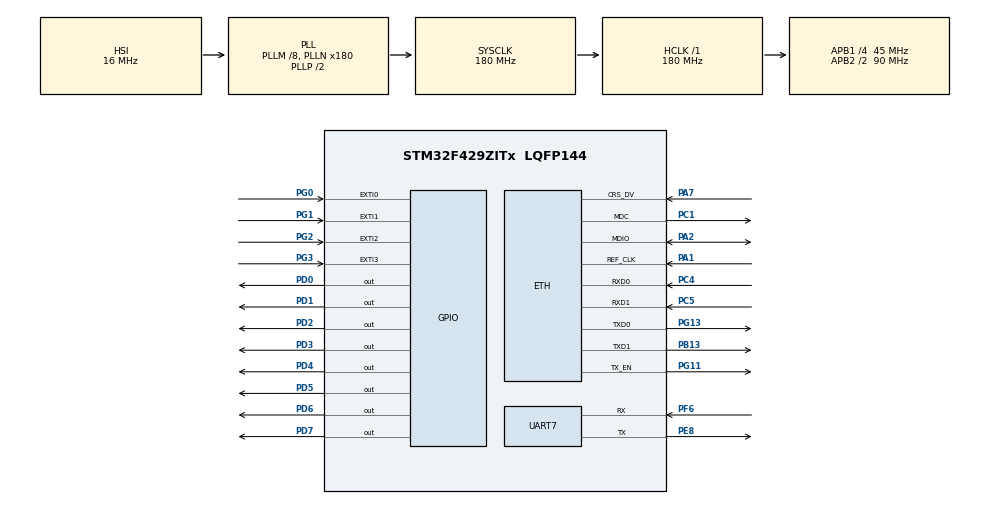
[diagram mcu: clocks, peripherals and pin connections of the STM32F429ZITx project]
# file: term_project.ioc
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ETH.MediaInterface=HAL_ETH_RMII_MODE
LWIP.BSP.number=1
LWIP.GATEWAY_ADDRESS=192.168.000.001
LWIP.IP_ADDRESS=192.168.000.110
LWIP.LWIP_DHCP=0
LWIP.NETMASK_ADDRESS=255.255.255.000
LWIP.Version=v2.1.2_Cube
LWIP0.BSP.STBoard=false
LWIP0.BSP.api=BSP_COMPONENT_DRIVER
LWIP0.BSP.component=LAN8742
LWIP0.BSP.instance=LAN8742
LWIP0.BSP.name=Driver_PHY
LWIP0.BSP.semaphore=S_LAN8742
LWIP0.BSP.solution=LAN8742
Mcu.Family=STM32F4
Mcu.Name=STM32F429ZITx
Mcu.Package=LQFP144
NVIC.EXTI0_IRQn=true\:0\:0\:false\:false\:true\:true\:true\:true
NVIC.EXTI1_IRQn=true\:0\:0\:false\:false\:true\:true\:true\:true
NVIC.EXTI2_IRQn=true\:0\:0\:false\:false\:true\:true\:true\:true
NVIC.EXTI3_IRQn=true\:0\:0\:false\:false\:true\:true\:true\:true
NVIC.PriorityGroup=NVIC_PRIORITYGROUP_4
NVIC.UART7_IRQn=true\:0\:0\:false\:false\:true\:true\:true\:true
PA1.Mode=RMII
PA1.Signal=ETH_REF_CLK
PA13.Mode=Serial_Wire
PA13.Signal=SYS_JTMS-SWDIO
PA14.Mode=Serial_Wire
PA14.Signal=SYS_JTCK-SWCLK
PA2.Mode=RMII
PA2.Signal=ETH_MDIO
PA7.Mode=RMII
PA7.Signal=ETH_CRS_DV
PB13.Mode=RMII
PB13.Signal=ETH_TXD1
PC1.Mode=RMII
PC1.Signal=ETH_MDC
PC4.Mode=RMII
PC4.Signal=ETH_RXD0
PC5.Mode=RMII
PC5.Signal=ETH_RXD1
PD0.GPIO_ModeDefaultOutputPP=GPIO_MODE_OUTPUT_PP
PD0.GPIO_PuPd=GPIO_PULLUP
PD0.GPIO_Speed=GPIO_SPEED_FREQ_HIGH
PD0.PinState=GPIO_PIN_RESET
PD0.Signal=GPIO_Output
PD1.GPIO_ModeDefaultOutputPP=GPIO_MODE_OUTPUT_PP
PD1.GPIO_PuPd=GPIO_PULLUP
PD1.GPIO_Speed=GPIO_SPEED_FREQ_HIGH
PD1.PinState=GPIO_PIN_RESET
PD1.Signal=GPIO_Output
PD2.GPIO_ModeDefaultOutputPP=GPIO_MODE_OUTPUT_PP
PD2.GPIO_PuPd=GPIO_PULLUP
PD2.GPIO_Speed=GPIO_SPEED_FREQ_HIGH
PD2.PinState=GPIO_PIN_RESET
PD2.Signal=GPIO_Output
PD3.GPIO_ModeDefaultOutputPP=GPIO_MODE_OUTPUT_PP
PD3.GPIO_PuPd=GPIO_PULLUP
PD3.GPIO_Speed=GPIO_SPEED_FREQ_HIGH
PD3.PinState=GPIO_PIN_RESET
PD3.Signal=GPIO_Output
PD4.GPIO_ModeDefaultOutputPP=GPIO_MODE_OUTPUT_PP
PD4.GPIO_PuPd=GPIO_PULLUP
PD4.GPIO_Speed=GPIO_SPEED_FREQ_HIGH
PD4.PinState=GPIO_PIN_RESET
PD4.Signal=GPIO_Output
PD5.GPIO_ModeDefaultOutputPP=GPIO_MODE_OUTPUT_PP
PD5.GPIO_PuPd=GPIO_PULLUP
PD5.GPIO_Speed=GPIO_SPEED_FREQ_HIGH
PD5.PinState=GPIO_PIN_RESET
PD5.Signal=GPIO_Output
PD6.GPIO_ModeDefaultOutputPP=GPIO_MODE_OUTPUT_PP
PD6.GPIO_PuPd=GPIO_PULLUP
PD6.GPIO_Speed=GPIO_SPEED_FREQ_HIGH
PD6.PinState=GPIO_PIN_RESET
PD6.Signal=GPIO_Output
PD7.GPIO_ModeDefaultOutputPP=GPIO_MODE_OUTPUT_PP
PD7.GPIO_PuPd=GPIO_PULLUP
PD7.GPIO_Speed=GPIO_SPEED_FREQ_HIGH
PD7.PinState=GPIO_PIN_RESET
PD7.Signal=GPIO_Output
PE8.Mode=Asynchronous
PE8.Signal=UART7_TX
PF6.Mode=Asynchronous
PF6.Signal=UART7_RX
PG0.GPIO_ModeDefaultEXTI=GPIO_MODE_IT_FALLING
PG0.GPIO_PuPd=GPIO_NOPULL
PG0.Signal=GPXTI0
PG1.GPIO_ModeDefaultEXTI=GPIO_MODE_IT_FALLING
PG1.GPIO_PuPd=GPIO_NOPULL
PG1.Signal=GPXTI1
PG11.Mode=RMII
PG11.Signal=ETH_TX_EN
PG13.Mode=RMII
PG13.Signal=ETH_TXD0
PG2.GPIO_ModeDefaultEXTI=GPIO_MODE_IT_FALLING
PG2.GPIO_PuPd=GPIO_NOPULL
PG2.Signal=GPXTI2
PG3.GPIO_ModeDefaultEXTI=GPIO_MODE_IT_FALLING
PG3.GPIO_PuPd=GPIO_NOPULL
PG3.Signal=GPXTI3
ProjectManager.HeapSize=0x200
ProjectManager.StackSize=0x400
ProjectManager.TargetToolchain=STM32CubeIDE
RCC.48MHZClocksFreq_Value=90000000
RCC.AHBFreq_Value=180000000
RCC.APB1CLKDivider=RCC_HCLK_DIV4
RCC.APB1Freq_Value=45000000
RCC.APB1TimFreq_Value=90000000
RCC.APB2CLKDivider=RCC_HCLK_DIV2
RCC.APB2Freq_Value=90000000
RCC.APB2TimFreq_Value=180000000
RCC.CortexFreq_Value=180000000
RCC.HCLKFreq_Value=180000000
RCC.HSE_VALUE=25000000
RCC.HSI_VALUE=16000000
RCC.LSE_VALUE=32768
RCC.PLLM=8
RCC.PLLN=180
RCC.SYSCLKFreq_VALUE=180000000
RCC.SYSCLKSource=RCC_SYSCLKSOURCE_PLLCLK
RCC.VCOOutputFreq_Value=360000000
UART7.VirtualMode=Asynchronous
VP_LWIP_VS_Enabled.Mode=Enabled
board=custom

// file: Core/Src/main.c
/* USER CODE BEGIN Header */
/**
  ******************************************************************************
  * @file           : main.c
  * @brief          : Main program body
  ******************************************************************************
  * @attention
  *
  * Copyright (c) 2026 STMicroelectronics.
  * All rights reserved.
  *
  * This software is licensed under terms that can be found in the LICENSE file
  * in the root directory of this software component.
  * If no LICENSE file comes with this software, it is provided AS-IS.
  *
  ******************************************************************************
  */
/* USER CODE END Header */
#include "main.h"
#include "lwip.h"

/* USER CODE BEGIN Includes */

#include "tcp_echoclient.h"

/* USER CODE END Includes */

UART_HandleTypeDef huart7;

/* USER CODE BEGIN PV */

extern struct netif gnetif;

/* USER CODE END PV */

void SystemClock_Config(void);
static void MX_GPIO_Init(void);
static void MX_UART7_Init(void);
/* USER CODE BEGIN PFP */

void LED_OnOff(int, int);
void User_notification(struct netif *netif);

/* USER CODE END PFP */

int main(void)
{

  /* MCU Configuration--------------------------------------------------------*/

  /* Reset of all peripherals, Initializes the Flash interface and the Systick. */
  HAL_Init();

  /* Configure the system clock */
  SystemClock_Config();

  /* Initialize all configured peripherals */
  MX_GPIO_Init();
  MX_UART7_Init();
  MX_LWIP_Init();
  /* USER CODE BEGIN 2 */

  LED_OnOff(LED_ALL, 500);

  User_notification(&gnetif);

  tcp_echoclient_connect();

  /* USER CODE END 2 */

  /* Infinite loop */
  while (1)
  {
	    MX_LWIP_Process();
  }
}

void SystemClock_Config(void)
{
  RCC_OscInitTypeDef RCC_OscInitStruct = {0};
  RCC_ClkInitTypeDef RCC_ClkInitStruct = {0};

  /** Configure the main internal regulator output voltage
  */
  __HAL_RCC_PWR_CLK_ENABLE();
  __HAL_PWR_VOLTAGESCALING_CONFIG(PWR_REGULATOR_VOLTAGE_SCALE1);

  /** Initializes the RCC Oscillators according to the specified parameters
  * in the RCC_OscInitTypeDef structure.
  */
  RCC_OscInitStruct.OscillatorType = RCC_OSCILLATORTYPE_HSI;
  RCC_OscInitStruct.HSIState = RCC_HSI_ON;
  RCC_OscInitStruct.HSICalibrationValue = RCC_HSICALIBRATION_DEFAULT;
  RCC_OscInitStruct.PLL.PLLState = RCC_PLL_ON;
  RCC_OscInitStruct.PLL.PLLSource = RCC_PLLSOURCE_HSI;
  RCC_OscInitStruct.PLL.PLLM = 8;
  RCC_OscInitStruct.PLL.PLLN = 180;
  RCC_OscInitStruct.PLL.PLLP = RCC_PLLP_DIV2;
  RCC_OscInitStruct.PLL.PLLQ = 4;
  if (HAL_RCC_OscConfig(&RCC_OscInitStruct) != HAL_OK)
  {
    Error_Handler();
  }

  /** Activate the Over-Drive mode
  */
  if (HAL_PWREx_EnableOverDrive() != HAL_OK)
  {
    Error_Handler();
  }

  /** Initializes the CPU, AHB and APB buses clocks
  */
  RCC_ClkInitStruct.ClockType = RCC_CLOCKTYPE_HCLK|RCC_CLOCKTYPE_SYSCLK
                              |RCC_CLOCKTYPE_PCLK1|RCC_CLOCKTYPE_PCLK2;
  RCC_ClkInitStruct.SYSCLKSource = RCC_SYSCLKSOURCE_PLLCLK;
  RCC_ClkInitStruct.AHBCLKDivider = RCC_SYSCLK_DIV1;
  RCC_ClkInitStruct.APB1CLKDivider = RCC_HCLK_DIV4;
  RCC_ClkInitStruct.APB2CLKDivider = RCC_HCLK_DIV2;

  if (HAL_RCC_ClockConfig(&RCC_ClkInitStruct, FLASH_LATENCY_5) != HAL_OK)
  {
    Error_Handler();
  }
}

static void MX_UART7_Init(void)
{

  huart7.Instance = UART7;
  huart7.Init.BaudRate = 115200;
  huart7.Init.WordLength = UART_WORDLENGTH_8B;
  huart7.Init.StopBits = UART_STOPBITS_1;
  huart7.Init.Parity = UART_PARITY_NONE;
  huart7.Init.Mode = UART_MODE_TX_RX;
  huart7.Init.HwFlowCtl = UART_HWCONTROL_NONE;
  huart7.Init.OverSampling = UART_OVERSAMPLING_16;
  if (HAL_UART_Init(&huart7) != HAL_OK)
  {
    Error_Handler();
  }

}

static void MX_GPIO_Init(void)
{
  GPIO_InitTypeDef GPIO_InitStruct = {0};

  /* GPIO Ports Clock Enable */
  __HAL_RCC_GPIOF_CLK_ENABLE();
  __HAL_RCC_GPIOC_CLK_ENABLE();
  __HAL_RCC_GPIOA_CLK_ENABLE();
  __HAL_RCC_GPIOG_CLK_ENABLE();
  __HAL_RCC_GPIOE_CLK_ENABLE();
  __HAL_RCC_GPIOB_CLK_ENABLE();
  __HAL_RCC_GPIOD_CLK_ENABLE();

  /*Configure GPIO pin Output Level */
  HAL_GPIO_WritePin(GPIOD, GPIO_PIN_0|GPIO_PIN_1|GPIO_PIN_2|GPIO_PIN_3
                          |GPIO_PIN_4|GPIO_PIN_5|GPIO_PIN_6|GPIO_PIN_7, GPIO_PIN_RESET);

  /*Configure GPIO pins : PG0 PG1 PG2 PG3 */
  GPIO_InitStruct.Pin = GPIO_PIN_0|GPIO_PIN_1|GPIO_PIN_2|GPIO_PIN_3;
  GPIO_InitStruct.Mode = GPIO_MODE_IT_FALLING;
  GPIO_InitStruct.Pull = GPIO_NOPULL;
  HAL_GPIO_Init(GPIOG, &GPIO_InitStruct);

  /*Configure GPIO pins : PD0 PD1 PD2 PD3
                           PD4 PD5 PD6 PD7 */
  GPIO_InitStruct.Pin = GPIO_PIN_0|GPIO_PIN_1|GPIO_PIN_2|GPIO_PIN_3
                          |GPIO_PIN_4|GPIO_PIN_5|GPIO_PIN_6|GPIO_PIN_7;
  GPIO_InitStruct.Mode = GPIO_MODE_OUTPUT_PP;
  GPIO_InitStruct.Pull = GPIO_PULLUP;
  GPIO_InitStruct.Speed = GPIO_SPEED_FREQ_HIGH;
  HAL_GPIO_Init(GPIOD, &GPIO_InitStruct);

  /* EXTI interrupt init*/
  HAL_NVIC_SetPriority(EXTI0_IRQn, 0, 0);
  HAL_NVIC_EnableIRQ(EXTI0_IRQn);

  HAL_NVIC_SetPriority(EXTI1_IRQn, 0, 0);
  HAL_NVIC_EnableIRQ(EXTI1_IRQn);

  HAL_NVIC_SetPriority(EXTI2_IRQn, 0, 0);
  HAL_NVIC_EnableIRQ(EXTI2_IRQn);

  HAL_NVIC_SetPriority(EXTI3_IRQn, 0, 0);
  HAL_NVIC_EnableIRQ(EXTI3_IRQn);

}

/* USER CODE BEGIN 4 */

uint32_t last_button_press = 0;

void HAL_GPIO_EXTI_Callback(uint16_t GPIO_Pin)
{
    uint32_t current_time = HAL_GetTick();

    if(current_time - last_button_press < 200)
    {
        return;
    }

    if(GPIO_Pin == GPIO_PIN_0)
    {
        key_send(1);
    }
    else if(GPIO_Pin == GPIO_PIN_1)
    {
        key_send(2);
    }
    else if(GPIO_Pin == GPIO_PIN_2)
    {
        key_send(3);
    }
    else if(GPIO_Pin == GPIO_PIN_3)
    {
        key_send(4);
    }

    last_button_press = current_time;
}

void LED_OnOff(int led, int interval)
{
HAL_GPIO_WritePin(GPIO_LED, led, GPIO_PIN_SET );
HAL_Delay(interval);
HAL_GPIO_WritePin(GPIO_LED, led, GPIO_PIN_RESET );
}

void User_notification(struct netif *netif)
{
if (netif_is_up(netif))  {
HAL_GPIO_WritePin(GPIO_LED, LED7, GPIO_PIN_SET);
}
else  {
HAL_GPIO_WritePin(GPIO_LED, LED8, GPIO_PIN_SET);
}
}

/* USER CODE END 4 */

void Error_Handler(void)
{
  __disable_irq();
  while (1)
  {
  }
}
